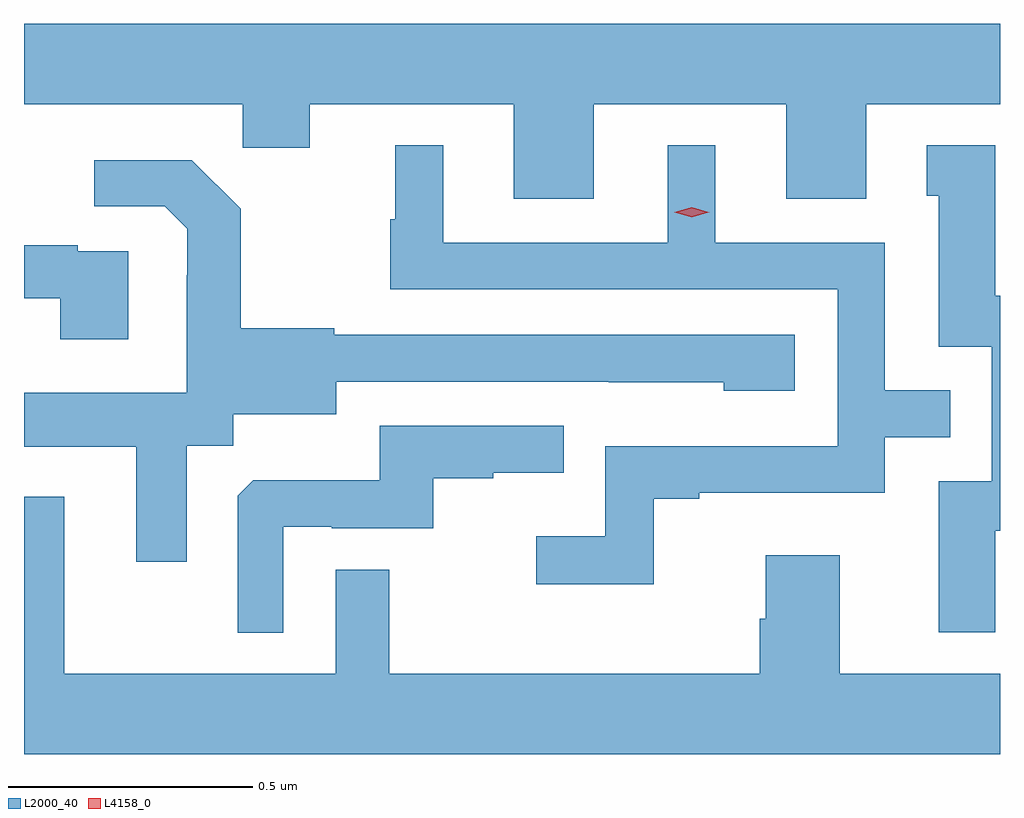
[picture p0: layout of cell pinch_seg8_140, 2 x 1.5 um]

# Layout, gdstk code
import gdstk
lib = gdstk.Library(unit=1e-6, precision=1e-09)
def P(c, l, *ps):  # polygons
    for p in ps: c.add(gdstk.Polygon(p, *l))
L2000_40 = (2000, 40)
L4158_0 = (4158, 0)

pinch_seg8_140 = lib.new_cell('pinch_seg8_140')
P(pinch_seg8_140, L2000_40, [(769.879,1151.132),(770.273,1151.132),(770.273,1150.938),(770.437,1150.938),(770.437,1151.132),(770.711,1151.132),(770.711,1151.296),(768.711,1151.296),(768.711,1151.132),(769.159,1151.132),(769.159,1151.042),(769.297,1151.042),(769.297,1151.132),(769.715,1151.132),(769.715,1150.938),(769.879,1150.938)],
  [(770.701,1150.258),(770.711,1150.258),(770.711,1150.739),(770.701,1150.739),(770.701,1151.047),(770.561,1151.047),(770.561,1150.944),(770.585,1150.944),(770.585,1150.635),(770.694,1150.635),(770.694,1150.359),(770.585,1150.359),(770.585,1150.05),(770.701,1150.05)],
  [(770.001,1150.323),(770.095,1150.323),(770.095,1150.335),(770.475,1150.335),(770.475,1150.449),(770.609,1150.449),(770.609,1150.545),(770.475,1150.545),(770.475,1150.848),(770.128,1150.848),(770.128,1151.047),(770.03,1151.047),(770.03,1150.848),(769.57,1150.848),(769.57,1151.047),(769.472,1151.047),(769.472,1150.896),(769.461,1150.896),(769.461,1150.752),(770.379,1150.752),(770.379,1150.431),(769.902,1150.431),(769.902,1150.246),(769.761,1150.246),(769.761,1150.148),(770.001,1150.148)],
  [(769.045,1150.432),(769.14,1150.432),(769.14,1150.496),(769.351,1150.496),(769.351,1150.563),(769.909,1150.563),(769.909,1150.562),(770.145,1150.562),(770.145,1150.544),(770.29,1150.544),(770.29,1150.659),(769.347,1150.659),(769.347,1150.672),(769.155,1150.672),(769.155,1150.917),(769.055,1151.017),(768.855,1151.017),(768.855,1150.923),(768.999,1150.923),(769.046,1150.876),(769.046,1150.781),(769.044,1150.781),(769.044,1150.54),(768.711,1150.54),(768.711,1150.43),(768.941,1150.43),(768.941,1150.194),(769.045,1150.194)],
  [(768.925,1150.83),(768.821,1150.83),(768.821,1150.843),(768.711,1150.843),(768.711,1150.734),(768.785,1150.734),(768.785,1150.65),(768.925,1150.65)],
  [(769.242,1150.266),(769.342,1150.266),(769.342,1150.263),(769.55,1150.263),(769.55,1150.365),(769.673,1150.365),(769.673,1150.376),(769.817,1150.376),(769.817,1150.473),(769.44,1150.473),(769.44,1150.361),(769.181,1150.361),(769.149,1150.329),(769.149,1150.049),(769.242,1150.049)],
  [(770.711,1149.964),(770.383,1149.964),(770.383,1150.207),(770.231,1150.207),(770.231,1150.077),(770.219,1150.077),(770.219,1149.964),(769.459,1149.964),(769.459,1150.178),(769.35,1150.178),(769.35,1149.964),(768.793,1149.964),(768.793,1150.327),(768.711,1150.327),(768.711,1149.8),(770.711,1149.8)])
P(pinch_seg8_140, L4158_0, [(770.079,1150.9),(770.043,1150.91),(770.043,1150.91),(770.043,1150.91),(770.079,1150.92),(770.114,1150.91),(770.115,1150.91),(770.114,1150.91)])

lib.write_gds('pinch_seg8_140.gds')
